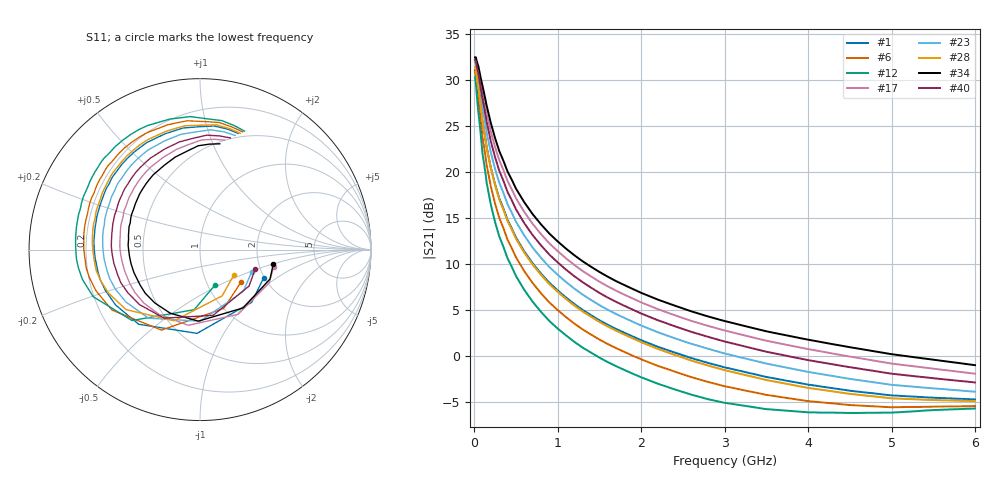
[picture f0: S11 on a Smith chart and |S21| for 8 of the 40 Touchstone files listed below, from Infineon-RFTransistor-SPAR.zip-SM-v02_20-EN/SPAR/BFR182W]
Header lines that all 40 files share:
! Infineon Technologies  Discrete & RF Semiconductors
! BFR182W
! Common Emitter S-Parameters:  Jan 2017
# GHz  S  MA  R  50
!  f  S11  S21  S12  S22
! GHz  MAG  ANG  MAG  ANG  MAG  ANG  MAG  ANG
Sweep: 10 MHz to 6 GHz
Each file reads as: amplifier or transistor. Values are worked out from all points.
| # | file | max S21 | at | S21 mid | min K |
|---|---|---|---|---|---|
| 1 | BFR182W_VCE_1.0V_IC_27mA.s2p | 31.0 dB | 10 MHz | 1.0 dB at 2.2 GHz | 0.45 |
| 2 | BFR182W_VCE_1.0V_IC_28mA.s2p | 31.0 dB | 10 MHz | 0.7 dB at 2.2 GHz | 0.46 |
| 3 | BFR182W_VCE_1.0V_IC_30mA.s2p | 31.0 dB | 10 MHz | 0.1 dB at 2.2 GHz | 0.48 |
| 4 | BFR182W_VCE_1.0V_IC_32mA.s2p | 30.9 dB | 10 MHz | -0.4 dB at 2.2 GHz | 0.51 |
| 5 | BFR182W_VCE_1.0V_IC_33mA.s2p | 30.9 dB | 10 MHz | -0.6 dB at 2.2 GHz | 0.53 |
| 6 | BFR182W_VCE_1.0V_IC_35mA.s2p | 30.8 dB | 10 MHz | -1.1 dB at 2.2 GHz | 0.55 |
| 7 | BFR182W_VCE_1.0V_IC_37mA.s2p | 30.7 dB | 10 MHz | -1.5 dB at 2.2 GHz | 0.56 |
| 8 | BFR182W_VCE_1.0V_IC_38mA.s2p | 30.7 dB | 10 MHz | -1.8 dB at 2.2 GHz | 0.58 |
| 9 | BFR182W_VCE_1.0V_IC_40mA.s2p | 30.6 dB | 10 MHz | -2.2 dB at 2.2 GHz | 0.59 |
| 10 | BFR182W_VCE_1.0V_IC_42mA.s2p | 30.5 dB | 10 MHz | -2.5 dB at 2.2 GHz | 0.62 |
| 11 | BFR182W_VCE_1.0V_IC_43mA.s2p | 30.4 dB | 10 MHz | -2.7 dB at 2.2 GHz | 0.63 |
| 12 | BFR182W_VCE_1.0V_IC_45mA.s2p | 30.3 dB | 10 MHz | -3.0 dB at 2.2 GHz | 0.64 |
| 13 | BFR182W_VCE_1.0V_IC_47mA.s2p | 30.1 dB | 10 MHz | -3.4 dB at 2.2 GHz | 0.65 |
| 14 | BFR182W_VCE_1.0V_IC_48mA.s2p | 30.1 dB | 10 MHz | -3.6 dB at 2.2 GHz | 0.66 |
| 15 | BFR182W_VCE_1.0V_IC_50mA.s2p | 29.9 dB | 10 MHz | -3.9 dB at 2.2 GHz | 0.68 |
| 16 | BFR182W_VCE_2.0V_IC_27mA.s2p | 32.0 dB | 20 MHz | 5.3 dB at 2.2 GHz | 0.31 |
| 17 | BFR182W_VCE_2.0V_IC_28mA.s2p | 32.0 dB | 10 MHz | 5.1 dB at 2.2 GHz | 0.33 |
| 18 | BFR182W_VCE_2.0V_IC_30mA.s2p | 32.0 dB | 10 MHz | 4.5 dB at 2.2 GHz | 0.38 |
| 19 | BFR182W_VCE_2.0V_IC_32mA.s2p | 32.0 dB | 10 MHz | 4.0 dB at 2.2 GHz | 0.39 |
| 20 | BFR182W_VCE_2.0V_IC_33mA.s2p | 32.0 dB | 10 MHz | 3.7 dB at 2.2 GHz | 0.42 |
| 21 | BFR182W_VCE_2.0V_IC_35mA.s2p | 32.0 dB | 10 MHz | 3.2 dB at 2.2 GHz | 0.45 |
| 22 | BFR182W_VCE_2.0V_IC_37mA.s2p | 31.9 dB | 10 MHz | 2.8 dB at 2.2 GHz | 0.48 |
| 23 | BFR182W_VCE_2.0V_IC_38mA.s2p | 31.9 dB | 10 MHz | 2.5 dB at 2.2 GHz | 0.48 |
| 24 | BFR182W_VCE_2.0V_IC_40mA.s2p | 31.8 dB | 10 MHz | 2.1 dB at 2.2 GHz | 0.52 |
| 25 | BFR182W_VCE_2.0V_IC_42mA.s2p | 31.7 dB | 10 MHz | 1.7 dB at 2.2 GHz | 0.53 |
| 26 | BFR182W_VCE_2.0V_IC_43mA.s2p | 31.6 dB | 10 MHz | 1.5 dB at 2.2 GHz | 0.54 |
| 27 | BFR182W_VCE_2.0V_IC_45mA.s2p | 31.5 dB | 10 MHz | 1.1 dB at 2.2 GHz | 0.56 |
| 28 | BFR182W_VCE_2.0V_IC_47mA.s2p | 31.4 dB | 10 MHz | 0.7 dB at 2.2 GHz | 0.59 |
| 29 | BFR182W_VCE_2.0V_IC_48mA.s2p | 31.3 dB | 10 MHz | 0.6 dB at 2.2 GHz | 0.58 |
| 30 | BFR182W_VCE_2.0V_IC_50mA.s2p | 31.2 dB | 10 MHz | 0.2 dB at 2.2 GHz | 0.62 |
| 31 | BFR182W_VCE_3.0V_IC_27mA.s2p | 32.3 dB | 20 MHz | 7.1 dB at 2.2 GHz | 0.20 |
| 32 | BFR182W_VCE_3.0V_IC_28mA.s2p | 32.3 dB | 10 MHz | 6.9 dB at 2.2 GHz | 0.24 |
| 33 | BFR182W_VCE_3.0V_IC_30mA.s2p | 32.4 dB | 10 MHz | 6.5 dB at 2.2 GHz | 0.23 |
| 34 | BFR182W_VCE_3.0V_IC_32mA.s2p | 32.5 dB | 20 MHz | 6.1 dB at 2.2 GHz | 0.26 |
| 35 | BFR182W_VCE_3.0V_IC_33mA.s2p | 32.5 dB | 20 MHz | 5.9 dB at 2.2 GHz | 0.33 |
| 36 | BFR182W_VCE_3.0V_IC_35mA.s2p | 32.4 dB | 10 MHz | 5.4 dB at 2.2 GHz | 0.36 |
| 37 | BFR182W_VCE_3.0V_IC_37mA.s2p | 32.4 dB | 10 MHz | 4.9 dB at 2.2 GHz | 0.38 |
| 38 | BFR182W_VCE_3.0V_IC_38mA.s2p | 32.3 dB | 10 MHz | 4.7 dB at 2.2 GHz | 0.40 |
| 39 | BFR182W_VCE_3.0V_IC_40mA.s2p | 32.3 dB | 10 MHz | 4.3 dB at 2.2 GHz | 0.42 |
| 40 | BFR182W_VCE_3.0V_IC_42mA.s2p | 32.2 dB | 10 MHz | 3.9 dB at 2.2 GHz | 0.45 |

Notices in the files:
Hoja de datos/BFP 450/Infineon-RFTransistor-SPAR.zip-SM-v02_20-EN/SPAR/BFR182W/BFR182W_VCE_1.0V_IC_27mA.s2p:
(c) 2017  Infineon Technologies AG, Munich
